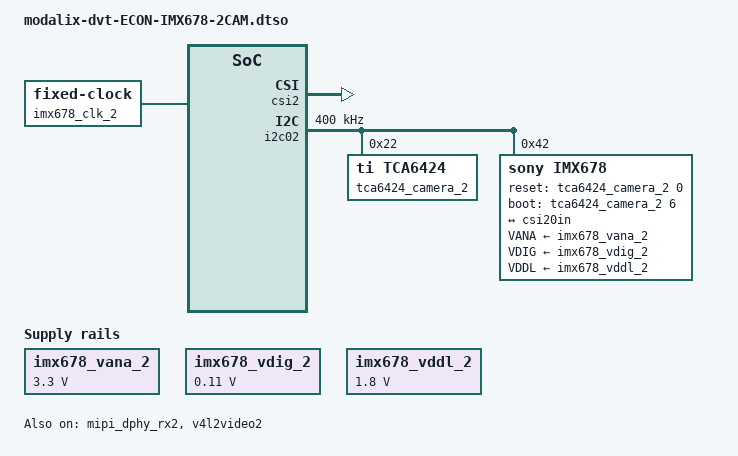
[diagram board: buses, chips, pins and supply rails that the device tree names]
// SPDX-License-Identifier: (GPL-2.0+ OR MIT)
/*
 * Copyright (c) 2024 SiMa ai
 */

/dts-v1/;
/plugin/;

&{/} {
    imx678_vana_2: csi2_fixedregulator@0 {
        compatible = "regulator-fixed";
        regulator-name = "imx678_vana_2";
        regulator-min-microvolt = <3300000>;
        regulator-max-microvolt = <3300000>;
        enable-active-high;
        startup-delay-us = <300000>;
        regulator-always-on;
    };
    imx678_vdig_2: csi2_fixedregulator@1 {
        compatible = "regulator-fixed";
        regulator-name = "imx678_vdig_2";
        regulator-min-microvolt = <110000>;
        regulator-max-microvolt = <110000>;
        regulator-always-on;
    };
    imx678_vddl_2: csi2_fixedregulator@2 {
        compatible = "regulator-fixed";
        regulator-name = "imx678_vddl_2";
        regulator-min-microvolt = <1800000>;
        regulator-max-microvolt = <1800000>;
        regulator-always-on;
    };
    imx678_clk_2: csi2_camera-clk {
        compatible = "fixed-clock";
        #clock-cells = <0>;
        clock-frequency = <24000000>;
    };
};

&csi2 {
    status = "okay";
};

&axi_vdma2 {
    status = "okay";
};

&mipi_dphy_rx2 {
    status = "okay";
};

&v4l2video2 {
    status = "okay";
};

&v4l2vdma2 {
    status = "okay";
};

&csi20in {
    clock-lanes = <0>;
    data-lanes = <1 2 3 4>;
    link-frequencies = /bits/ 64 <450000000>;
    remote-endpoint = <&cam20out>;
    clock-continuous;
};

&i2c02 {
    status = "okay";
    clock-frequency = <400000>;
    #address-cells = <1>;
    #size-cells = <0>;

    tca6424_camera_2: tca6424@22 {
        compatible = "ti,tca6424";
        gpio-controller;
        #gpio-cells = <2>;
        reg = <0x22>;
        status = "okay";
    };

    imx678: imx678@42 {
        compatible = "sony,imx678";
        reg = <0x42>;

        clocks = <&imx678_clk_2>;
        clock-names = "xclk";

        VANA-supply = <&imx678_vana_2>;
        VDIG-supply = <&imx678_vdig_2>;
        VDDL-supply = <&imx678_vddl_2>;

        reset-gpios = <&tca6424_camera_2 0 0>;
        boot-gpios = <&tca6424_camera_2 6 0>;

        camera_mipi_lanes = <4>;
        cam_fw_name = "imx678_cam_fw.bin";

        port@1 {
            cam20out: endpoint@0 {
                clock-lanes = <0>;
                data-lanes = <1 2 3 4>;
                link-frequencies = /bits/ 64 <450000000>;
                remote-endpoint = <&csi20in>;
                clock-continuous;
            };
        };
    };
};
